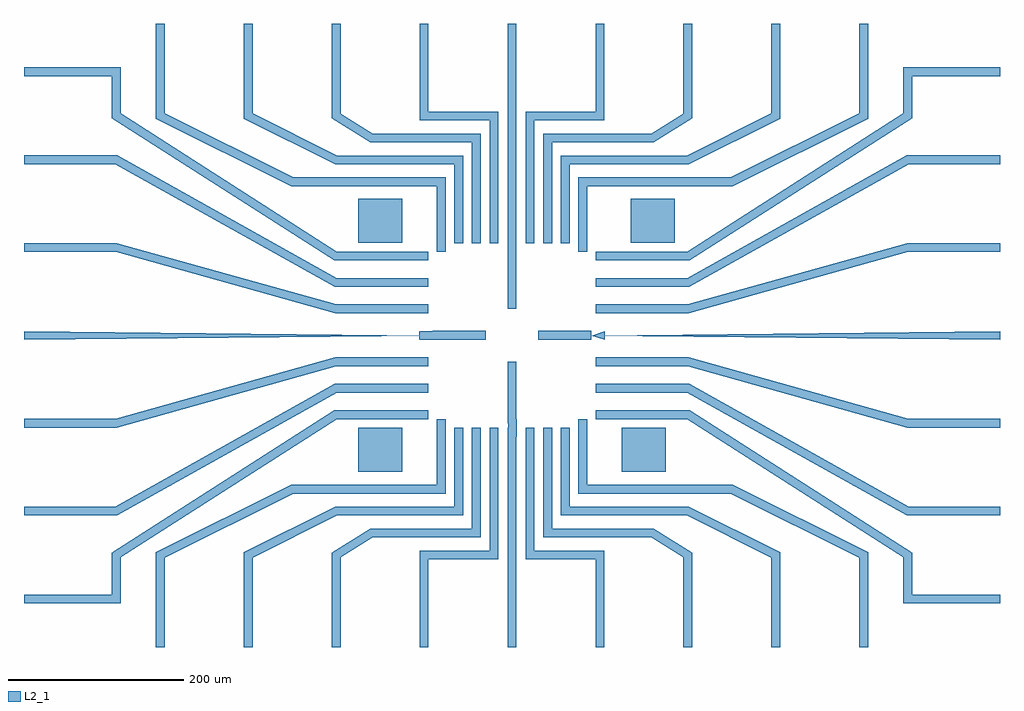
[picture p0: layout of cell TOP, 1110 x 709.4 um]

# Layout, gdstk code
import gdstk
lib = gdstk.Library(unit=1e-6, precision=1e-09)
def R(c, l, rs):  # rectangles x0, y0, x1, y1
    for r in rs: c.add(gdstk.rectangle(r[:2], r[2:], *l))
L2_1 = (2, 1)

top = lib.new_cell('TOP')
R(top, L2_1, [(-175,-155,-125,-105), (125,-155,175,-105), (-175,105,-125,155), (135,105,185,155)])
top.add(gdstk.FlexPath([(0.502,-110.302),(0.502,-100.302)], 10, ends="round", simple_path=True, layer=2, datatype=1))  # L2_1
top.add(gdstk.FlexPath([(-100.498,-30.302),(-200.498,-30.302),(-449.996,-100),(-549.996,-100)], 10, ends="round", simple_path=True, layer=2, datatype=1))  # L2_1
top.add(gdstk.FlexPath([(-100.498,-60.302),(-200.498,-60.302),(-449.996,-200),(-549.996,-200)], 10, ends="round", simple_path=True, layer=2, datatype=1))  # L2_1
top.add(gdstk.FlexPath([(-100.498,-90.302),(-200.498,-90.302),(-449.996,-250),(-449.996,-300),(-549.996,-300)], 10, ends="round", simple_path=True, layer=2, datatype=1))  # L2_1
top.add(gdstk.FlexPath([(-100.498,-0.302),(-90.498,-0.302),(-549.996,-0.302)], 10, ends="round", simple_path=True, layer=2, datatype=1))  # L2_1
top.add(gdstk.FlexPath([(-100.498,30),(-200.498,30),(-449.996,99.698),(-549.996,99.698)], 10, ends="round", simple_path=True, layer=2, datatype=1))  # L2_1
top.add(gdstk.FlexPath([(-100.498,60),(-200.498,60),(-449.996,199.698),(-549.996,199.698)], 10, ends="round", simple_path=True, layer=2, datatype=1))  # L2_1
top.add(gdstk.FlexPath([(-100.498,90),(-200.498,90),(-449.996,249.698),(-449.996,299.698),(-549.996,299.698)], 10, ends="round", simple_path=True, layer=2, datatype=1))  # L2_1
top.add(gdstk.FlexPath([(100.502,-30.302),(200.502,-30.302),(450,-100),(550,-100)], 10, ends="round", simple_path=True, layer=2, datatype=1))  # L2_1
top.add(gdstk.FlexPath([(100.502,-60.302),(200.502,-60.302),(450,-200),(550,-200)], 10, ends="round", simple_path=True, layer=2, datatype=1))  # L2_1
top.add(gdstk.FlexPath([(100.502,-90.302),(200.502,-90.302),(450,-250),(450,-300),(550,-300)], 10, ends="round", simple_path=True, layer=2, datatype=1))  # L2_1
top.add(gdstk.FlexPath([(-80.498,-100.302),(-80.498,-175),(-249.996,-175),(-399.996,-250),(-399.996,-350)], 10, ends="round", simple_path=True, layer=2, datatype=1))  # L2_1
top.add(gdstk.FlexPath([(-60.498,-110.302),(-60.498,-200),(-199.996,-200),(-299.996,-250),(-299.996,-350)], 10, ends="round", simple_path=True, layer=2, datatype=1))  # L2_1
top.add(gdstk.FlexPath([(100.502,-0.302),(90.502,-0.302),(550,-0.302)], 10, ends="round", simple_path=True, layer=2, datatype=1))  # L2_1
top.add(gdstk.FlexPath([(100.502,30),(200.502,30),(450,99.698),(550,99.698)], 10, ends="round", simple_path=True, layer=2, datatype=1))  # L2_1
top.add(gdstk.FlexPath([(100.502,60),(200.502,60),(450,199.698),(550,199.698)], 10, ends="round", simple_path=True, layer=2, datatype=1))  # L2_1
top.add(gdstk.FlexPath([(100.502,90),(200.502,90),(450,249.698),(450,299.698),(550,299.698)], 10, ends="round", simple_path=True, layer=2, datatype=1))  # L2_1
top.add(gdstk.FlexPath([(80.502,-100.302),(80.502,-175),(250,-175),(400,-250),(400,-350)], 10, ends="round", simple_path=True, layer=2, datatype=1))  # L2_1
top.add(gdstk.FlexPath([(60.502,-110.302),(60.502,-200),(200,-200),(300,-250),(300,-350)], 10, ends="round", simple_path=True, layer=2, datatype=1))  # L2_1
top.add(gdstk.FlexPath([(-40.498,-110.302),(-40.498,-225),(-159.996,-225),(-199.996,-250),(-199.996,-350)], 10, ends="round", simple_path=True, layer=2, datatype=1))  # L2_1
top.add(gdstk.FlexPath([(40.502,-110.302),(40.502,-225),(160,-225),(200,-250),(200,-350)], 10, ends="round", simple_path=True, layer=2, datatype=1))  # L2_1
top.add(gdstk.FlexPath([(-20.498,-110.302),(-20.496,-250),(-99.996,-250),(-99.996,-350)], 10, ends="round", simple_path=True, layer=2, datatype=1))  # L2_1
top.add(gdstk.FlexPath([(0.004,-110.302),(0.004,-350)], 10, ends="round", simple_path=True, layer=2, datatype=1))  # L2_1
top.add(gdstk.FlexPath([(20.502,-110.302),(20.5,-250),(100,-250),(100,-350)], 10, ends="round", simple_path=True, layer=2, datatype=1))  # L2_1
top.add(gdstk.FlexPath([(20.502,109.698),(20.5,249.396),(100,249.396),(100,349.396)], 10, ends="round", simple_path=True, layer=2, datatype=1))  # L2_1
top.add(gdstk.FlexPath([(0.004,109.698),(0.004,349.396)], 10, ends="round", simple_path=True, layer=2, datatype=1))  # L2_1
top.add(gdstk.FlexPath([(-20.498,109.698),(-20.496,249.396),(-99.996,249.396),(-99.996,349.396)], 10, ends="round", simple_path=True, layer=2, datatype=1))  # L2_1
top.add(gdstk.FlexPath([(40.502,109.698),(40.502,224.396),(160,224.396),(200,249.396),(200,349.396)], 10, ends="round", simple_path=True, layer=2, datatype=1))  # L2_1
top.add(gdstk.FlexPath([(-40.498,109.698),(-40.498,224.396),(-159.996,224.396),(-199.996,249.396),(-199.996,349.396)], 10, ends="round", simple_path=True, layer=2, datatype=1))  # L2_1
top.add(gdstk.FlexPath([(60.502,109.698),(60.502,199.396),(200,199.396),(300,249.396),(300,349.396)], 10, ends="round", simple_path=True, layer=2, datatype=1))  # L2_1
top.add(gdstk.FlexPath([(80.502,99.698),(80.502,174.396),(250,174.396),(400,249.396),(400,349.396)], 10, ends="round", simple_path=True, layer=2, datatype=1))  # L2_1
top.add(gdstk.FlexPath([(-60.498,109.698),(-60.498,199.396),(-199.996,199.396),(-299.996,249.396),(-299.996,349.396)], 10, ends="round", simple_path=True, layer=2, datatype=1))  # L2_1
top.add(gdstk.FlexPath([(-80.498,99.698),(-80.498,174.396),(-249.996,174.396),(-399.996,249.396),(-399.996,349.396)], 10, ends="round", simple_path=True, layer=2, datatype=1))  # L2_1
top.add(gdstk.FlexPath([(-99.498,-0.302),(-89.498,-0.302)], 10, ends="round", simple_path=True, layer=2, datatype=1))  # L2_1
top.add(gdstk.FlexPath([(0,110),(0,30)], 10, ends="flush", simple_path=True, layer=2, datatype=1))  # L2_1
top.add(gdstk.FlexPath([(90,0),(30,0)], 10, ends="flush", simple_path=True, layer=2, datatype=1))  # L2_1
top.add(gdstk.FlexPath([(0,-100),(0,-30)], 10, ends="flush", simple_path=True, layer=2, datatype=1))  # L2_1
top.add(gdstk.FlexPath([(-90,0),(-30,0)], 10, ends="flush", simple_path=True, layer=2, datatype=1))  # L2_1

lib.write_gds('TOP.gds')
